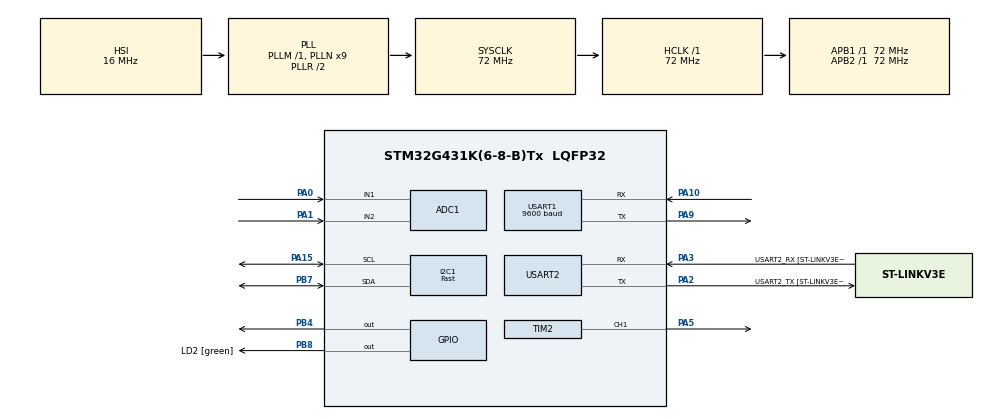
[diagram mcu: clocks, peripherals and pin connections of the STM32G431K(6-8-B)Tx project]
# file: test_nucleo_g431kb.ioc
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ADC1.Channel-0\#ChannelRegularConversion=ADC_CHANNEL_1
ADC1.NbrOfConversion=1
ADC1.NbrOfConversionFlag=1
ADC1.OffsetNumber-0\#ChannelRegularConversion=ADC_OFFSET_NONE
ADC1.Rank-0\#ChannelRegularConversion=1
ADC1.SamplingTime-0\#ChannelRegularConversion=ADC_SAMPLETIME_2CYCLES_5
ADC1.SingleDiff-0\#ChannelRegularConversion=ADC_DIFFERENTIAL_ENDED
ADC1.master=1
I2C1.I2C_Speed_Mode=I2C_Fast
I2C1.Speed=300
I2C1.Timing=0x007026BD
Mcu.Family=STM32G4
Mcu.Name=STM32G431K(6-8-B)Tx
Mcu.Package=LQFP32
NVIC.PriorityGroup=NVIC_PRIORITYGROUP_4
NVIC.RCC_IRQn=true\:0\:0\:false\:false\:true\:true\:false\:true
NVIC.USART2_IRQn=true\:0\:0\:false\:false\:true\:true\:true\:true
PA0.Mode=IN1-Differential
PA0.Signal=ADC1_IN1
PA1.Mode=IN1-Differential
PA1.Signal=ADC1_IN2
PA10.Mode=Asynchronous
PA10.Signal=USART1_RX
PA13.GPIO_Label=T_SWDIO
PA13.Mode=Serial_Wire
PA13.Signal=SYS_JTMS-SWDIO
PA14.GPIO_Label=T_SWCLK
PA14.Mode=Serial_Wire
PA14.Signal=SYS_JTCK-SWCLK
PA15.Mode=I2C
PA15.Signal=I2C1_SCL
PA2.GPIO_Label=USART2_TX [ST-LINKV3E_VCP_RX]
PA2.Mode=Asynchronous
PA2.Signal=USART2_TX
PA3.GPIO_Label=USART2_RX [ST-LINKV3E_VCP_TX]
PA3.Mode=Asynchronous
PA3.Signal=USART2_RX
PA5.Signal=S_TIM2_CH1
PA9.Mode=Asynchronous
PA9.Signal=USART1_TX
PB3.GPIO_Label=T_SWO
PB3.Signal=SYS_JTDO-SWO
PB4.GPIO_PuPd=GPIO_NOPULL
PB4.GPIO_Speed=GPIO_SPEED_FREQ_LOW
PB4.PinState=GPIO_PIN_SET
PB4.Signal=GPIO_Output
PB7.Mode=I2C
PB7.Signal=I2C1_SDA
PB8-BOOT0.GPIO_Label=LD2 [green]
PB8-BOOT0.Signal=GPIO_Output
ProjectManager.HeapSize=0x200
ProjectManager.StackSize=0x400
ProjectManager.TargetToolchain=STM32CubeIDE
RCC.ADC12Freq_Value=72000000
RCC.AHBFreq_Value=72000000
RCC.APB1Freq_Value=72000000
RCC.APB1TimFreq_Value=72000000
RCC.APB2Freq_Value=72000000
RCC.APB2TimFreq_Value=72000000
RCC.CortexFreq_Value=72000000
RCC.EXTERNAL_CLOCK_VALUE=12288000
RCC.HCLKFreq_Value=72000000
RCC.HSE_VALUE=8000000
RCC.HSI48_VALUE=48000000
RCC.HSI_VALUE=16000000
RCC.LSE_VALUE=32768
RCC.PLLN=9
RCC.SYSCLKFreq_VALUE=72000000
RCC.SYSCLKSource=RCC_SYSCLKSOURCE_PLLCLK
RCC.USBFreq_Value=72000000
RCC.VCOOutputFreq_Value=144000000
SH.S_TIM2_CH1.0=TIM2_CH1,PWM Generation1 CH1
TIM2.AutoReloadPreload=TIM_AUTORELOAD_PRELOAD_ENABLE
TIM2.Channel-PWM\ Generation1\ CH1=TIM_CHANNEL_1
TIM2.PeriodNoDither=65535
USART1.BaudRate=9600
USART1.VirtualMode-Asynchronous=VM_ASYNC
USART2.VirtualMode-Asynchronous=VM_ASYNC
USART2.WordLength=WORDLENGTH_8B
VP_TIM2_VS_ClockSourceINT.Mode=Internal
board=NUCLEO-G431KB

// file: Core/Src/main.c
/* USER CODE BEGIN Header */
/**
  ******************************************************************************
  * @file           : main.c
  * @brief          : Main program body
  ******************************************************************************
  * @attention
  *
  * Copyright (c) 2022 STMicroelectronics.
  * All rights reserved.
  *
  * This software is licensed under terms that can be found in the LICENSE file
  * in the root directory of this software component.
  * If no LICENSE file comes with this software, it is provided AS-IS.
  *
  ******************************************************************************
  */
/* USER CODE END Header */
#include "main.h"

/* USER CODE BEGIN Includes */

#include "lsm9ds1_reg.h"
#include "madgwick.h"
#include "rectrix_sms.h"
#include "hack_led.h"

#include <string.h>
#include <math.h>
//#include <stdbool.h>

/* USER CODE END Includes */

/* USER CODE BEGIN PTD */
typedef struct {
	void* hbus;
	uint8_t i2c_address;
	GPIO_TypeDef *cs_port;
	uint16_t cs_pin;
} sensbus_t;
/* USER CODE END PTD */

/* USER CODE BEGIN PD */
#define SENSOR_BUS hi2c1
#define BOOT_TIME 20

#define    WAIT_TIME_MAG        60 //ms
#define    WAIT_TIME_XL        200 //ms
#define    WAIT_TIME_GY        800 //ms

#define    SAMPLES               5 //number of samples

/* Self test results. */
#define    ST_PASS     1U
#define    ST_FAIL     0U
/* USER CODE END PD */

ADC_HandleTypeDef hadc1;

I2C_HandleTypeDef hi2c1;

TIM_HandleTypeDef htim2;

UART_HandleTypeDef huart1;
UART_HandleTypeDef huart2;

/* USER CODE BEGIN PV */

static sensbus_t imu_bus = {
		&SENSOR_BUS,
		LSM9DS1_IMU_I2C_ADD_H,
		0,
		0
};

static sensbus_t mag_bus = {
		&SENSOR_BUS,
		LSM9DS1_MAG_I2C_ADD_H,
		0,
		0
};

uint8_t rst;

hack_led_t led;

static int16_t data_raw_acceleration[3], st_data_raw_acceleration[3];
static int16_t data_raw_angular_rate[3], st_data_raw_angular_rate[3];
static int16_t data_raw_magnetic_field[3], st_data_raw_magnetic_field[3];
//static float val_offset[3];
static float acceleration_mg[3], st_acceleration_mg[3];
static float angular_rate_mdps[3], st_angular_rate_mdps[3];
static float magnetic_field_mgauss[3], st_magnetic_field_mgauss[3];
//static float cal_accel[3], cal_gyro[3], cal_mag[3];

static int16_t accelIntegral[3];
static int16_t accelGravityIntegral[3];
static int16_t gyroSmoothend[3];

static float aa_rot[3], last_aa[3];
static int16_t aaReal[3];
static float gy_rot[3];
static float ypr[3], ypr_rot[3];

static float acc_vsm;
static float w_vsm;
static float gravity_vsm;
static float sum_vsm;

static float yaw, roll, pitch;

static char chk_falling;

//const int COMMON_GRAVITY_Z = 1000;
float THRESHOLD_INT_ACCEL_X = 69.54 * 100;
float THRESHOLD_INT_ACCEL_Y = 121.80 * 100;
float THRESHOLD_INT_ACCEL_Z = 88.26 * 100;
float THRESHOLD_INT_GRAVITY_X = 79.06 * 100;
float THRESHOLD_INT_GRAVITY_Y = 134.78 * 100;
//int THRESHOLD_INT_GRAVITY_Z = 1;
float THRESHOLD_SMOOTH_GYRO_X = 41.40 * 2;
float THRESHOLD_SMOOTH_GYRO_Y = 49.86 * 2;
float THRESHOLD_SMOOTH_GYRO_Z = 111.76 * 2;
//float THRESHOLD_YAW = 360;
float THRESHOLD_PITCH = 280.98 * 45 / 100 / 2;
float THRESHOLD_ROLL = 349.16 * 50 / 100 / 2;
float THRESHOLD_ACCEL_DELTA = 39.30 * 100;

const float rotateZAngle = 1.0;

const float MOVING_AVERAGE_DECLINE = 0.1f;

extern float beta;
extern float grav[3];

float continuous_rating = 0.0f;
float normalized_continuous_rating = 0.0f;

const float GYRO_EXP_DECLINE_FACTOR = 0.1f;

double former_x = 0.0f, former_y = 0.0f, former_z = 0.0f;

//static const float min_st_mag_limit[] = {1000.0f, 1000.0f,  100.0f};
//static const float max_st_mag_limit[] = {3000.0f, 3000.0f, 1000.0f};
//
///* Self test limits in mg @ 2g*/
//static const float min_st_xl_limit[] = {70.0f, 70.0f,  70.0f};
//static const float max_st_xl_limit[] = {1500.0f, 1500.0f, 1500.0f};
//
///* Self test limits in mdps @ 2000 dps*/
//static const float min_st_gy_limit[] = {200000.0f, 200000.0f, 200000.0f};
//static const float max_st_gy_limit[] = {800000.0f, 800000.0f, 800000.0f};

char str[256];
rectirx_sms_t sms;

extern char count;

/* USER CODE END PV */

void SystemClock_Config(void);
static void MX_GPIO_Init(void);
static void MX_USART2_UART_Init(void);
static void MX_I2C1_Init(void);
static void MX_USART1_UART_Init(void);
static void MX_ADC1_Init(void);
static void MX_TIM2_Init(void);
/* USER CODE BEGIN PFP */
void lsm9ds1_self_test(void);
static int32_t platform_write_imu(void* handle, uint8_t reg, const uint8_t* bufp, uint16_t len);
static int32_t platform_read_imu(void* handle, uint8_t reg, uint8_t* bufp, uint16_t len);
static int32_t platform_write_mag(void* handle, uint8_t reg, const uint8_t* bufp, uint16_t len);
static int32_t platform_read_mag(void* handle, uint8_t reg, uint8_t* bufp, uint16_t len);
static void platform_delay(uint32_t ms);
double sigmoid_function(double a);
double norm(double a, double b, double c);
double evalContinuous(float yaw, float pitch, float roll,
					  float gx, float gy, float gz,
					  float ax, float ay, float az,
					  float* gravity);
void prepareData();
void rotateZ(float radAngle, float* point, float* rotatedPoint);
_Bool checkThreshold(float liveData, float thresholdVal);
char chk[11];

/* USER CODE END PFP */

int main(void)
{
  /* USER CODE BEGIN 1 */
	HAL_StatusTypeDef ret;
	uint8_t buf[32];
  /* USER CODE END 1 */

  /* MCU Configuration--------------------------------------------------------*/

  /* Reset of all peripherals, Initializes the Flash interface and the Systick. */
  HAL_Init();

  /* Configure the system clock */
  SystemClock_Config();

  /* Initialize all configured peripherals */
  MX_GPIO_Init();
  MX_USART2_UART_Init();
  MX_I2C1_Init();
  MX_USART1_UART_Init();
  MX_ADC1_Init();
  MX_TIM2_Init();
  /* USER CODE BEGIN 2 */

  buf[0] = 0xA0 | 0x12;

  sms.my_device = huart2;
  sms.sms_device = huart1;

  rectrix_init(&sms, "1111111111"); // XBee3 Setting

  HAL_TIMEx_PWMN_Start(&htim2, TIM_CHANNEL_1);
  HAL_ADCEx_Calibration_Start(&hadc1, ADC_SINGLE_ENDED);

  init_hack_led(&led, GPIOB, GPIO_PIN_4);

  lsm9ds1_self_test();

  /* USER CODE END 2 */

  /* Infinite loop */
  while (1)
  {

  }
}

void SystemClock_Config(void)
{
  RCC_OscInitTypeDef RCC_OscInitStruct = {0};
  RCC_ClkInitTypeDef RCC_ClkInitStruct = {0};

  /** Configure the main internal regulator output voltage
  */
  HAL_PWREx_ControlVoltageScaling(PWR_REGULATOR_VOLTAGE_SCALE1);

  /** Initializes the RCC Oscillators according to the specified parameters
  * in the RCC_OscInitTypeDef structure.
  */
  RCC_OscInitStruct.OscillatorType = RCC_OSCILLATORTYPE_HSI;
  RCC_OscInitStruct.HSIState = RCC_HSI_ON;
  RCC_OscInitStruct.HSICalibrationValue = RCC_HSICALIBRATION_DEFAULT;
  RCC_OscInitStruct.PLL.PLLState = RCC_PLL_ON;
  RCC_OscInitStruct.PLL.PLLSource = RCC_PLLSOURCE_HSI;
  RCC_OscInitStruct.PLL.PLLM = RCC_PLLM_DIV1;
  RCC_OscInitStruct.PLL.PLLN = 9;
  RCC_OscInitStruct.PLL.PLLP = RCC_PLLP_DIV2;
  RCC_OscInitStruct.PLL.PLLQ = RCC_PLLQ_DIV2;
  RCC_OscInitStruct.PLL.PLLR = RCC_PLLR_DIV2;
  if (HAL_RCC_OscConfig(&RCC_OscInitStruct) != HAL_OK)
  {
    Error_Handler();
  }

  /** Initializes the CPU, AHB and APB buses clocks
  */
  RCC_ClkInitStruct.ClockType = RCC_CLOCKTYPE_HCLK|RCC_CLOCKTYPE_SYSCLK
                              |RCC_CLOCKTYPE_PCLK1|RCC_CLOCKTYPE_PCLK2;
  RCC_ClkInitStruct.SYSCLKSource = RCC_SYSCLKSOURCE_PLLCLK;
  RCC_ClkInitStruct.AHBCLKDivider = RCC_SYSCLK_DIV1;
  RCC_ClkInitStruct.APB1CLKDivider = RCC_HCLK_DIV1;
  RCC_ClkInitStruct.APB2CLKDivider = RCC_HCLK_DIV1;

  if (HAL_RCC_ClockConfig(&RCC_ClkInitStruct, FLASH_LATENCY_2) != HAL_OK)
  {
    Error_Handler();
  }
}

static void MX_ADC1_Init(void)
{

  ADC_MultiModeTypeDef multimode = {0};
  ADC_ChannelConfTypeDef sConfig = {0};

  /** Common config
  */
  hadc1.Instance = ADC1;
  hadc1.Init.ClockPrescaler = ADC_CLOCK_SYNC_PCLK_DIV2;
  hadc1.Init.Resolution = ADC_RESOLUTION_12B;
  hadc1.Init.DataAlign = ADC_DATAALIGN_RIGHT;
  hadc1.Init.GainCompensation = 0;
  hadc1.Init.ScanConvMode = ADC_SCAN_DISABLE;
  hadc1.Init.EOCSelection = ADC_EOC_SINGLE_CONV;
  hadc1.Init.LowPowerAutoWait = DISABLE;
  hadc1.Init.ContinuousConvMode = DISABLE;
  hadc1.Init.NbrOfConversion = 1;
  hadc1.Init.DiscontinuousConvMode = DISABLE;
  hadc1.Init.ExternalTrigConv = ADC_SOFTWARE_START;
  hadc1.Init.ExternalTrigConvEdge = ADC_EXTERNALTRIGCONVEDGE_NONE;
  hadc1.Init.DMAContinuousRequests = DISABLE;
  hadc1.Init.Overrun = ADC_OVR_DATA_PRESERVED;
  hadc1.Init.OversamplingMode = DISABLE;
  if (HAL_ADC_Init(&hadc1) != HAL_OK)
  {
    Error_Handler();
  }

  /** Configure the ADC multi-mode
  */
  multimode.Mode = ADC_MODE_INDEPENDENT;
  if (HAL_ADCEx_MultiModeConfigChannel(&hadc1, &multimode) != HAL_OK)
  {
    Error_Handler();
  }

  /** Configure Regular Channel
  */
  sConfig.Channel = ADC_CHANNEL_1;
  sConfig.Rank = ADC_REGULAR_RANK_1;
  sConfig.SamplingTime = ADC_SAMPLETIME_2CYCLES_5;
  sConfig.SingleDiff = ADC_DIFFERENTIAL_ENDED;
  sConfig.OffsetNumber = ADC_OFFSET_NONE;
  sConfig.Offset = 0;
  if (HAL_ADC_ConfigChannel(&hadc1, &sConfig) != HAL_OK)
  {
    Error_Handler();
  }

}

static void MX_I2C1_Init(void)
{

  hi2c1.Instance = I2C1;
  hi2c1.Init.Timing = 0x007026BD;
  hi2c1.Init.OwnAddress1 = 0;
  hi2c1.Init.AddressingMode = I2C_ADDRESSINGMODE_7BIT;
  hi2c1.Init.DualAddressMode = I2C_DUALADDRESS_DISABLE;
  hi2c1.Init.OwnAddress2 = 0;
  hi2c1.Init.OwnAddress2Masks = I2C_OA2_NOMASK;
  hi2c1.Init.GeneralCallMode = I2C_GENERALCALL_DISABLE;
  hi2c1.Init.NoStretchMode = I2C_NOSTRETCH_DISABLE;
  if (HAL_I2C_Init(&hi2c1) != HAL_OK)
  {
    Error_Handler();
  }

  /** Configure Analogue filter
  */
  if (HAL_I2CEx_ConfigAnalogFilter(&hi2c1, I2C_ANALOGFILTER_ENABLE) != HAL_OK)
  {
    Error_Handler();
  }

  /** Configure Digital filter
  */
  if (HAL_I2CEx_ConfigDigitalFilter(&hi2c1, 0) != HAL_OK)
  {
    Error_Handler();
  }

}

static void MX_TIM2_Init(void)
{

  TIM_ClockConfigTypeDef sClockSourceConfig = {0};
  TIM_MasterConfigTypeDef sMasterConfig = {0};
  TIM_OC_InitTypeDef sConfigOC = {0};

  htim2.Instance = TIM2;
  htim2.Init.Prescaler = 0;
  htim2.Init.CounterMode = TIM_COUNTERMODE_UP;
  htim2.Init.Period = 65535;
  htim2.Init.ClockDivision = TIM_CLOCKDIVISION_DIV1;
  htim2.Init.AutoReloadPreload = TIM_AUTORELOAD_PRELOAD_ENABLE;
  if (HAL_TIM_Base_Init(&htim2) != HAL_OK)
  {
    Error_Handler();
  }
  sClockSourceConfig.ClockSource = TIM_CLOCKSOURCE_INTERNAL;
  if (HAL_TIM_ConfigClockSource(&htim2, &sClockSourceConfig) != HAL_OK)
  {
    Error_Handler();
  }
  if (HAL_TIM_PWM_Init(&htim2) != HAL_OK)
  {
    Error_Handler();
  }
  sMasterConfig.MasterOutputTrigger = TIM_TRGO_RESET;
  sMasterConfig.MasterSlaveMode = TIM_MASTERSLAVEMODE_DISABLE;
  if (HAL_TIMEx_MasterConfigSynchronization(&htim2, &sMasterConfig) != HAL_OK)
  {
    Error_Handler();
  }
  sConfigOC.OCMode = TIM_OCMODE_PWM1;
  sConfigOC.Pulse = 0;
  sConfigOC.OCPolarity = TIM_OCPOLARITY_HIGH;
  sConfigOC.OCFastMode = TIM_OCFAST_DISABLE;
  if (HAL_TIM_PWM_ConfigChannel(&htim2, &sConfigOC, TIM_CHANNEL_1) != HAL_OK)
  {
    Error_Handler();
  }
  HAL_TIM_MspPostInit(&htim2);

}

static void MX_USART1_UART_Init(void)
{

  huart1.Instance = USART1;
  huart1.Init.BaudRate = 9600;
  huart1.Init.WordLength = UART_WORDLENGTH_8B;
  huart1.Init.StopBits = UART_STOPBITS_1;
  huart1.Init.Parity = UART_PARITY_NONE;
  huart1.Init.Mode = UART_MODE_TX_RX;
  huart1.Init.HwFlowCtl = UART_HWCONTROL_NONE;
  huart1.Init.OverSampling = UART_OVERSAMPLING_16;
  huart1.Init.OneBitSampling = UART_ONE_BIT_SAMPLE_DISABLE;
  huart1.Init.ClockPrescaler = UART_PRESCALER_DIV1;
  huart1.AdvancedInit.AdvFeatureInit = UART_ADVFEATURE_NO_INIT;
  if (HAL_UART_Init(&huart1) != HAL_OK)
  {
    Error_Handler();
  }
  if (HAL_UARTEx_SetTxFifoThreshold(&huart1, UART_TXFIFO_THRESHOLD_1_8) != HAL_OK)
  {
    Error_Handler();
  }
  if (HAL_UARTEx_SetRxFifoThreshold(&huart1, UART_RXFIFO_THRESHOLD_1_8) != HAL_OK)
  {
    Error_Handler();
  }
  if (HAL_UARTEx_DisableFifoMode(&huart1) != HAL_OK)
  {
    Error_Handler();
  }

}

static void MX_USART2_UART_Init(void)
{

  huart2.Instance = USART2;
  huart2.Init.BaudRate = 115200;
  huart2.Init.WordLength = UART_WORDLENGTH_8B;
  huart2.Init.StopBits = UART_STOPBITS_1;
  huart2.Init.Parity = UART_PARITY_NONE;
  huart2.Init.Mode = UART_MODE_TX_RX;
  huart2.Init.HwFlowCtl = UART_HWCONTROL_NONE;
  huart2.Init.OverSampling = UART_OVERSAMPLING_16;
  huart2.Init.OneBitSampling = UART_ONE_BIT_SAMPLE_DISABLE;
  huart2.Init.ClockPrescaler = UART_PRESCALER_DIV1;
  huart2.AdvancedInit.AdvFeatureInit = UART_ADVFEATURE_NO_INIT;
  if (HAL_UART_Init(&huart2) != HAL_OK)
  {
    Error_Handler();
  }
  if (HAL_UARTEx_SetTxFifoThreshold(&huart2, UART_TXFIFO_THRESHOLD_1_8) != HAL_OK)
  {
    Error_Handler();
  }
  if (HAL_UARTEx_SetRxFifoThreshold(&huart2, UART_RXFIFO_THRESHOLD_1_8) != HAL_OK)
  {
    Error_Handler();
  }
  if (HAL_UARTEx_DisableFifoMode(&huart2) != HAL_OK)
  {
    Error_Handler();
  }

}

static void MX_GPIO_Init(void)
{
  GPIO_InitTypeDef GPIO_InitStruct = {0};

  /* GPIO Ports Clock Enable */
  __HAL_RCC_GPIOA_CLK_ENABLE();
  __HAL_RCC_GPIOB_CLK_ENABLE();

  /*Configure GPIO pin Output Level */
  HAL_GPIO_WritePin(GPIOB, GPIO_PIN_4, GPIO_PIN_SET);

  /*Configure GPIO pin Output Level */
  HAL_GPIO_WritePin(LD2_GPIO_Port, LD2_Pin, GPIO_PIN_RESET);

  /*Configure GPIO pins : PB4 LD2_Pin */
  GPIO_InitStruct.Pin = GPIO_PIN_4|LD2_Pin;
  GPIO_InitStruct.Mode = GPIO_MODE_OUTPUT_PP;
  GPIO_InitStruct.Pull = GPIO_NOPULL;
  GPIO_InitStruct.Speed = GPIO_SPEED_FREQ_LOW;
  HAL_GPIO_Init(GPIOB, &GPIO_InitStruct);

}

/* USER CODE BEGIN 4 */

void lsm9ds1_self_test(void){
	double crashPropability;

	stmdev_ctx_t dev_ctx_imu;
	stmdev_ctx_t dev_ctx_mag;

	uint16_t AD_RES = 0;

	lsm9ds1_status_t reg;
	lsm9ds1_id_t whoamI;

	int16_t data_raw[3];

	dev_ctx_imu.write_reg = platform_write_imu;
	dev_ctx_imu.read_reg = platform_read_imu;
	dev_ctx_imu.handle = (void*)&imu_bus;

	dev_ctx_mag.write_reg = platform_write_mag;
	dev_ctx_mag.read_reg = platform_read_mag;
	dev_ctx_mag.handle = (void*)&mag_bus;

	platform_delay(BOOT_TIME);
	lsm9ds1_dev_id_get(&dev_ctx_mag, &dev_ctx_imu, &whoamI);

//	sprintf(str, "IMU: 0x%02x\r\nMAG:0x%02x\r\n", whoamI.imu, whoamI.mag);
//	HAL_UART_Transmit(&huart2, str, strlen(str), HAL_MAX_DELAY);

	if(whoamI.imu != LSM9DS1_IMU_ID || whoamI.mag != LSM9DS1_MAG_ID){
		rectrix_SendMessage(&sms, "Cycling Emergency System Disabled");
		while(1);
	}
	else{
		rectrix_SendMessage(&sms, "Cycling Emergency System Enabled");
	}

	lsm9ds1_dev_reset_set(&dev_ctx_mag, &dev_ctx_imu, PROPERTY_ENABLE);

	do {
		lsm9ds1_dev_reset_get(&dev_ctx_mag, &dev_ctx_imu, &rst);
	}while(rst);

//	sprintf(str, "Reset Complete!\r\n");
//	HAL_UART_Transmit(&huart2, str, strlen(str), HAL_MAX_DELAY);

	lsm9ds1_block_data_update_set(&dev_ctx_mag, &dev_ctx_imu, PROPERTY_ENABLE);

//	sprintf(str, "Block Update Enable Complete!\r\n");
//	HAL_UART_Transmit(&huart2, str, strlen(str), HAL_MAX_DELAY);

	lsm9ds1_xl_full_scale_set(&dev_ctx_imu, LSM9DS1_4g);
	lsm9ds1_gy_full_scale_set(&dev_ctx_imu, LSM9DS1_2000dps);
	lsm9ds1_mag_full_scale_set(&dev_ctx_mag, LSM9DS1_16Ga);

	lsm9ds1_xl_filter_aalias_bandwidth_set(&dev_ctx_imu, LSM9DS1_50Hz);
	lsm9ds1_xl_filter_lp_bandwidth_set(&dev_ctx_imu, LSM9DS1_LP_ODR_DIV_50);
	lsm9ds1_xl_filter_out_path_set(&dev_ctx_imu, LSM9DS1_LP_OUT);

//	sprintf(str, "Acceleometer filtering Complete!\r\n");
//	HAL_UART_Transmit(&huart2, str, strlen(str), HAL_MAX_DELAY);

	lsm9ds1_gy_filter_lp_bandwidth_set(&dev_ctx_imu, LSM9DS1_LP_ULTRA_LIGHT);
	lsm9ds1_gy_filter_hp_bandwidth_set(&dev_ctx_imu, LSM9DS1_HP_MEDIUM);
	lsm9ds1_gy_filter_out_path_set(&dev_ctx_imu, LSM9DS1_LPF1_HPF_LPF2_OUT);

//	sprintf(str, "Gyrormeter filtering Complete!\r\n");
//	HAL_UART_Transmit(&huart2, str, strlen(str), HAL_MAX_DELAY);

	lsm9ds1_imu_data_rate_set(&dev_ctx_imu, LSM9DS1_IMU_119Hz_LP);
	lsm9ds1_mag_data_rate_set(&dev_ctx_mag, LSM9DS1_MAG_LP_80Hz);

	unsigned int tick_start = 0, tick_end = 0,
				 emergency_tick_now = 0, emergency_tick_before = 0,
				 brightness_tick_before = 0;
	GPIO_PinState brightness_state = GPIO_PIN_SET;

	_Bool sms_trigger = 0u;

	while(1){
		double delta_x, delta_y, delta_z;
		tick_start = HAL_GetTick();

		if(tick_start - brightness_tick_before > 50 && count > 0) {
			hack_led_gpio_set_reset(&led, brightness_state);
			brightness_state = !brightness_state;
			brightness_tick_before = tick_start;
			count--;
		}

		if(tick_start - tick_end > (1000 * invSampleFreq2)){
			lsm9ds1_dev_status_get(&dev_ctx_mag, &dev_ctx_imu, &reg);

			if ( reg.status_imu.xlda && reg.status_imu.gda ) {
			  /* Read imu data */
			  memset(data_raw_acceleration, 0x00, 3 * sizeof(int16_t));
			  memset(data_raw_angular_rate, 0x00, 3 * sizeof(int16_t));
			  lsm9ds1_acceleration_raw_get(&dev_ctx_imu,
										   data_raw_acceleration);
			  lsm9ds1_angular_rate_raw_get(&dev_ctx_imu,
										   data_raw_angular_rate);
			  for(int i = 0; i < 3; i++){
				acceleration_mg[i] = lsm9ds1_from_fs4g_to_mg(data_raw_acceleration[i]) / 1000;
				angular_rate_mdps[i] = lsm9ds1_from_fs2000dps_to_mdps(data_raw_angular_rate[i]) / 1000;
			  }

			}

			if ( reg.status_mag.zyxda ) {
			  /* Read magnetometer data */
			  memset(data_raw_magnetic_field, 0x00, 3 * sizeof(int16_t));
			  lsm9ds1_magnetic_raw_get(&dev_ctx_mag, data_raw_magnetic_field);
			  magnetic_field_mgauss[0] = lsm9ds1_from_fs16gauss_to_mG(
										   data_raw_magnetic_field[0]);
			  magnetic_field_mgauss[1] = lsm9ds1_from_fs16gauss_to_mG(
										   data_raw_magnetic_field[1]);
			  magnetic_field_mgauss[2] = lsm9ds1_from_fs16gauss_to_mG(
										   data_raw_magnetic_field[2]);
	//		  sprintf(str, "[G] %4.2f\t%4.2f\t%4.2f\r\n",
	//				  magnetic_field_mgauss[0]/10, magnetic_field_mgauss[1]/10,
	//				  magnetic_field_mgauss[2]/10);
	//		  HAL_UART_Transmit(&huart2, str, strlen(str), HAL_MAX_DELAY);
			}

			madgwickUpdate(angular_rate_mdps[0], angular_rate_mdps[1], angular_rate_mdps[2],
						   acceleration_mg[0], acceleration_mg[1], acceleration_mg[2],
						   magnetic_field_mgauss[0], magnetic_field_mgauss[1], magnetic_field_mgauss[2],
						   invSampleFreq2);

			getGravity();
			getLinearAccel(aaReal, data_raw_acceleration);

//			computeAngles();

			pitch = getPitch();
			roll = getRoll();
			yaw = getYaw();

			ypr[0] = yaw;
			ypr[1] = pitch;
			ypr[2] = roll;

//			getLinearAccel(angular_rate_mdps, aaReal);

			prepareData();

			crashPropability = evalContinuous(yaw, pitch, roll,
											  angular_rate_mdps[0], angular_rate_mdps[1], angular_rate_mdps[2],
											  acceleration_mg[0], acceleration_mg[1], acceleration_mg[2],
											  grav);

			sprintf(str, "%.2f\r\n", crashPropability);
							HAL_UART_Transmit(&huart2, str, strlen(str), HAL_MAX_DELAY);

			if(crashPropability > 0.5f && tick_start - emergency_tick_before > 1000){
				rectrix_SendMessage(&sms, "Helmet detected a Cycling accident!");
				emergency_tick_before = tick_start;
			}

			// Start ADC Conversion
			HAL_ADC_Start(&hadc1);
		   // Poll ADC1 Perihperal & TimeOut = 1mSec
			HAL_ADC_PollForConversion(&hadc1, (1000 * invSampleFreq2));
		   // Read The ADC Conversion Result & Map It To PWM DutyCycle
			AD_RES = HAL_ADC_GetValue(&hadc1);
			TIM2->CCR1 = (AD_RES<<4);

			sprintf(str,
					  "%d\r\n", AD_RES);
			HAL_UART_Transmit(&huart2, str, strlen(str), HAL_MAX_DELAY);

			if(count == 0){
				if(AD_RES < 2900){
					hack_led_set(&led, TURN_ON_1);
				}
				else{
					hack_led_off(&led);
				}
			}

			tick_end = tick_start;
		}
	}
}

static int32_t platform_write_imu(void* handle, uint8_t reg, const uint8_t* bufp, uint16_t len){
	sensbus_t *sensbus = (sensbus_t*)handle;

	HAL_I2C_Mem_Write(sensbus->hbus, sensbus->i2c_address, reg, I2C_MEMADD_SIZE_8BIT, (uint8_t*)bufp, len, 1000);
}

int32_t platform_write_mag(void* handle, uint8_t reg, const uint8_t* bufp, uint16_t len){
	sensbus_t *sensbus = (sensbus_t*)handle;

	reg |= 0x80;
	HAL_I2C_Mem_Write(sensbus->hbus, sensbus->i2c_address, reg, I2C_MEMADD_SIZE_8BIT, (uint8_t*)bufp, len, 1000);
}

static int32_t platform_read_imu(void* handle, uint8_t reg, uint8_t* bufp, uint16_t len){
	sensbus_t *sensbus = (sensbus_t*)handle;

	HAL_I2C_Mem_Read(sensbus->hbus, sensbus->i2c_address, reg, I2C_MEMADD_SIZE_8BIT, (uint8_t*)bufp, len, 1000);
}

static int32_t platform_read_mag(void* handle, uint8_t reg, uint8_t* bufp, uint16_t len){
	sensbus_t *sensbus = (sensbus_t*)handle;

	reg |= 0x80;
	HAL_I2C_Mem_Read(sensbus->hbus, sensbus->i2c_address, reg, I2C_MEMADD_SIZE_8BIT, (uint8_t*)bufp, len, 1000);
}

static void platform_delay(uint32_t ms){
	HAL_Delay(ms);
}

double sigmoid_function(double x){
	return x / (2 * (1 + abs(x))) + 0.5;
}

double norm(double a, double b, double c){
#define sq(X) pow(X, 2)
	return sqrt(sq(a) + sq(b) + sq(c));
#undef sq
}

double evalContinuous(float yaw, float pitch, float roll,
					  float gx, float gy, float gz,
					  float ax, float ay, float az,
					  float* gravity) {
	double delta_x, delta_y, delta_z;
	double ypr_eval, gyro_eval, accel_eval, gravity_eval;

//	delta_x = abs(yaw) - THRESHOLD_YAW;
//	delta_y = abs(pitch) - THRESHOLD_PITCH;
//	delta_z = abs(roll) - THRESHOLD_ROLL;
//	ypr_eval = norm(delta_x, delta_y, delta_z);
//
//	delta_x = abs(gyroSmoothend[0]) - THRESHOLD_SMOOTH_GYRO_X;
//	delta_y = abs(gyroSmoothend[1]) - THRESHOLD_SMOOTH_GYRO_Y;
//	delta_z = abs(gyroSmoothend[2]) - THRESHOLD_SMOOTH_GYRO_Z;
//	gyro_eval = norm(delta_x, delta_y, delta_z);
//
//	delta_x = abs(accelIntegral[0]) > THRESHOLD_INT_ACCEL_X;
//	delta_y = abs(accelIntegral[1]) > THRESHOLD_INT_ACCEL_Y;
//	delta_z = abs(accelIntegral[2]) > THRESHOLD_INT_ACCEL_Z;
//	accel_eval = norm(delta_x, delta_y, delta_z);
//
//	delta_x = abs(accelGravityIntegral[0]) > THRESHOLD_INT_GRAVITY_X;
//	delta_y = abs(accelGravityIntegral[1]) > THRESHOLD_INT_GRAVITY_Y;
//	delta_z = abs(accelGravityIntegral[2]) > THRESHOLD_INT_GRAVITY_Z;
//	gravity_eval = norm(delta_x, delta_y, delta_z);
//
//	continuous_rating = ypr_eval + gyro_eval + accel_eval + gravity_eval;
//	normalized_continuous_rating = normalized_continuous_rating * 0.999 + continuous_rating * 0.001;
//
//	return sigmoid_function(continuous_rating/normalized_continuous_rating - 1);

//	double stepCount;
//
//	stepCount = 0 + 1 * (abs(ypr[1]) > THRESHOLD_PITCH * 45 / 100)
//			      + 1 * (abs(ypr[2]) > THRESHOLD_ROLL * 50 / 100)
//				  + 1 * (abs(gyroSmoothend[0]) > THRESHOLD_SMOOTH_GYRO_X * 200 / 100)
//				  + 1 * (abs(gyroSmoothend[1]) > THRESHOLD_SMOOTH_GYRO_Y * 200 / 100)
//				  + 1 * (abs(gyroSmoothend[2]) > THRESHOLD_SMOOTH_GYRO_Z * 200 / 100)
//				  + 1 * (abs(accelIntegral[0]) > THRESHOLD_INT_ACCEL_X * 10000/ 100)
//				  + 1 * (abs(accelIntegral[1]) > THRESHOLD_INT_ACCEL_Y * 10000/ 100)
//				  + 1 * (abs(accelIntegral[2]) > THRESHOLD_INT_ACCEL_Z * 10000/ 100)
//				  + 1 * (abs(accelGravityIntegral[0]) > THRESHOLD_INT_GRAVITY_X * 10000 / 100)
//				  + 1 * (abs(accelGravityIntegral[1]) > THRESHOLD_INT_GRAVITY_Y * 10000 / 100)
//				  + 1 * (abs(acc_vsm) > THRESHOLD_INT_GRAVITY_X * 10000 / 100);
#define ABS_CAST(X) abs((int)(X))
	float stepCount = 0;
	stepCount = 0
			+ 1 * checkThreshold(ABS_CAST(ypr[1] * 180 / M_PI), THRESHOLD_PITCH)
			+ 1 * checkThreshold(ABS_CAST(ypr[2] * 180 / M_PI), THRESHOLD_ROLL)
			+ 1 * checkThreshold(ABS_CAST(gyroSmoothend[0]), THRESHOLD_SMOOTH_GYRO_X)
			+ 1 * checkThreshold(ABS_CAST(gyroSmoothend[1]), THRESHOLD_SMOOTH_GYRO_Y)
			+ 1 * checkThreshold(ABS_CAST(gyroSmoothend[2]), THRESHOLD_SMOOTH_GYRO_Z)
			+ 1 * checkThreshold(ABS_CAST(accelIntegral[0]), THRESHOLD_INT_ACCEL_X)
			+ 1 * checkThreshold(ABS_CAST(accelIntegral[1]), THRESHOLD_INT_ACCEL_Y)
			+ 1 * checkThreshold(ABS_CAST(accelIntegral[2]), THRESHOLD_INT_ACCEL_Z)
			+ 1 * checkThreshold(ABS_CAST(accelGravityIntegral[0]), THRESHOLD_INT_GRAVITY_X)
			+ 1 * checkThreshold(ABS_CAST(accelGravityIntegral[1]), THRESHOLD_INT_GRAVITY_Y)
		 	+ 1 * checkThreshold(ABS_CAST(acc_vsm), THRESHOLD_ACCEL_DELTA);
#undef ABS_CAST
//	for(int i = 0; i < 11; i++){
//		sprintf(str,
//					  "%d ",
//					  chk[i]);
//		HAL_UART_Transmit(&huart2, str, strlen(str), HAL_MAX_DELAY);
//	}

//	sprintf(str,
//				  "%d %2.2f\r\n",
//				  (abs((int)(ypr[1] * 180 / M_PI))),
//				  THRESHOLD_PITCH);
//	HAL_UART_Transmit(&huart2, str, strlen(str), HAL_MAX_DELAY);

	return stepCount / 11;
}

void prepareData(){
	double delta_x, delta_y, delta_z;

//	rotateZ(rotateZAngle, acceleration_mg, aa_rot);
//	rotateZ(rotateZAngle, aaReal, aaReal_rot);
//	rotateZ(rotateZAngle, angular_rate_mdps, gy_rot);
//	rotateZ(rotateZAngle, ypr, ypr_rot);

	for(register uint8_t i = 0; i < 3; i++)
		accelIntegral[i] = accelIntegral[i] * (1 - MOVING_AVERAGE_DECLINE) + aaReal[i] * MOVING_AVERAGE_DECLINE;

	for(register uint8_t i = 0; i < 3; i++)
		accelGravityIntegral[i] = accelGravityIntegral[i] * (1 - MOVING_AVERAGE_DECLINE) + data_raw_acceleration[i] * MOVING_AVERAGE_DECLINE;

	for(register uint8_t i = 0; i < 3; i++)
		gyroSmoothend[i] = gyroSmoothend[i] * (1 - MOVING_AVERAGE_DECLINE) + data_raw_angular_rate[i] * MOVING_AVERAGE_DECLINE;

	delta_x = former_x - accelIntegral[0];
	delta_y = former_y - accelIntegral[1];
	delta_z = former_z - accelIntegral[2];

	acc_vsm = norm(delta_x, delta_y, delta_z);

	former_x = accelIntegral[0] * MOVING_AVERAGE_DECLINE + former_x * (1 - MOVING_AVERAGE_DECLINE);
	former_y = accelIntegral[1] * MOVING_AVERAGE_DECLINE + former_y * (1 - MOVING_AVERAGE_DECLINE);
	former_z = accelIntegral[2] * MOVING_AVERAGE_DECLINE + former_z * (1 - MOVING_AVERAGE_DECLINE);

}

void rotateZ(float radAngle, float* point, float* rotatedPoint){
	*rotatedPoint = cos(radAngle)*point[0] - sin(radAngle) * point[1];
	*(rotatedPoint+1) = sin(radAngle)*point[0] + cos(radAngle)*point[1];
	*(rotatedPoint+2) = point[2];
}

_Bool checkThreshold(float liveData, float thresholdVal){
	static int i = 0;
	chk[i] = (liveData > thresholdVal);
	if(++i >= 11)
		i = 0;
	return chk[i];
}

/* USER CODE END 4 */

void Error_Handler(void)
{
  __disable_irq();
  while (1)
  {
  }
}
